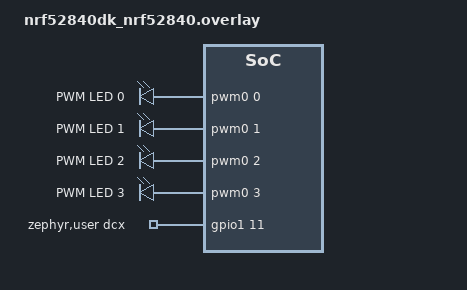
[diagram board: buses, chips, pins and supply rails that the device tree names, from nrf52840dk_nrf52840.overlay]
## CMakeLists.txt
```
zephyr_library()
zephyr_library_sources_ifdef(CONFIG_GPIO btn.c)
```

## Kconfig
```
# Copyright (c) 2021 Nordic Semiconductor ASA
# SPDX-License-Identifier: Apache-2.0
#
# This Kconfig file is picked by the Zephyr build system because it is defined
# as the module Kconfig entry point (see zephyr/module.yml). You can browse
# module options by going to Zephyr -> Modules in Kconfig.
```

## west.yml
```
# Copyright (c) 2021 Nordic Semiconductor ASA
# SPDX-License-Identifier: Apache-2.0

manifest:
  self:
    west-commands: scripts/west-commands.yml

  remotes:
    - name: zephyrproject-rtos
      url-base: https://github.com/zephyrproject-rtos

  projects:
    - name: zephyr
      remote: zephyrproject-rtos
      revision: v4.2.0
      import:
        # By using name-allowlist we can clone only the modules that are
        # strictly needed by the application.
        name-allowlist:
          - cmsis_6    # required by the ARM port for Cortex-M
          - hal_nordic # required by the nRF52840
          - lvgl    #add so west knows what to look for when running screen
```

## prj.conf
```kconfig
# Copyright (c) 2021 Nordic Semiconductor ASA
# SPDX-License-Identifier: Apache-2.0
#
# This file contains selected Kconfig options for the application.

CONFIG_GPIO=y
CONFIG_PWM=y
CONFIG_SMF=y
CONFIG_BOOT_BANNER=n

CONFIG_SPI=y

CONFIG_DISPLAY=y
CONFIG_LVGL=y

CONFIG_LV_Z_MEM_POOL_SIZE=16384
CONFIG_MAIN_STACK_SIZE=4096
```

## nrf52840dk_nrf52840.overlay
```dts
/ {
    pwmleds {
        compatible = "pwm-leds";
        pwm_led0: pwm_led_0 {
            pwms = <&pwm0 0 PWM_MSEC(20) PWM_POLARITY_NORMAL>;
            label = "PWM LED 0";
        };
        pwm_led1: pwm_led_1 {
            pwms = <&pwm0 1 PWM_MSEC(20) PWM_POLARITY_NORMAL>;
            label = "PWM LED 1";
        };
        pwm_led2: pwm_led_2 {
            pwms = <&pwm0 2 PWM_MSEC(20) PWM_POLARITY_NORMAL>;
            label = "PWM LED 2";
        };
        pwm_led3: pwm_led_3 {
            pwms = <&pwm0 3 PWM_MSEC(20) PWM_POLARITY_NORMAL>;
            label = "PWM LED 3";
        };
    };


    /*added for lesson_10 ...*/

    zephyr,user {
        dcx-gpios = <&gpio1 11 GPIO_ACTIVE_HIGH>;
    };

    arduino_spi {
        cs-gpios = <&gpio1 12 GPIO_ACTIVE_LOW>;
    };

    /*...*/

    aliases {
        pwm-led0 = &pwm_led0;
        pwm-led1 = &pwm_led1;
        pwm-led2 = &pwm_led2;
        pwm-led3 = &pwm_led3;
    };
};

&pinctrl { 
    pwm0_default: pwm0_default {
		group1 {
			psels = 
                <NRF_PSEL(PWM_OUT0, 0, 13)>, 
                <NRF_PSEL(PWM_OUT1, 0, 14)>, 
                <NRF_PSEL(PWM_OUT2, 0, 15)>, 
                <NRF_PSEL(PWM_OUT3, 0, 16)>;
			nordic,invert;
		};
	};

    pwm0_sleep: pwm0_sleep {
		group1 {
			psels = 
                <NRF_PSEL(PWM_OUT0, 0, 13)>, 
                <NRF_PSEL(PWM_OUT1, 0, 14)>, 
                <NRF_PSEL(PWM_OUT2, 0, 15)>, 
                <NRF_PSEL(PWM_OUT3, 0, 16)>;
			low-power-enable;
		};
	};
};
```

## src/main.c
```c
/**
 * @file main.c
 */


#include <inttypes.h>

#include <zephyr/kernel.h>
#include <zephyr/device.h>
#include <zephyr/drivers/spi.h>
#include <zephyr/drivers/gpio.h>
#include <zephyr/sys/printk.h>
#include <zephyr/drivers/display.h>

#include <lvgl.h>
#include "lcd_ui.h"

// command to build for screen:
//west build -b nrf52840dk/nrf52840 --shield=adafruit_2_8_tft_touch_v2 app

#include "BTN.h"
#include "LED.h"
#include "memory_game.h"

#define SLEEP_MS 1

// Set display device
static const struct device *display_dev =
    DEVICE_DT_GET(DT_CHOSEN(zephyr_display));


int main(void) {

  // Check proper initialization of BTN, LED, and display
  if (0 > BTN_init()) {
    return 0;
  }

  if (0 > LED_init()){
    return 0;
  }

  if (!device_is_ready(display_dev)) {
    return 0;
  }

  // Initialize LCD
  display_blanking_off(display_dev);
  lcd_ui_init();

  // Initialize Memory Game from .h file
  memory_game_init();
  printk("Memory Game Initialized\n");
 
  while(1){
    
    // Run Memory Game, which is in .c file
    int ret = memory_game_run();
    
    if(0 > ret){
      return 0;
    }

    // Allow LVGL to update screen and process input every loop
    lv_timer_handler();
    k_msleep(SLEEP_MS);

  }

  return 0;
}
```

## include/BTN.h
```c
/*
Header to define button interface
*/

#ifndef BTN_H
#define BTN_H

#include <stdbool.h>

/* ----------------------------------------------------------------------------
                                    TYPES
---------------------------------------------------------------------------- */
typedef enum btn_id_t {
  BTN0 = 0,
  BTN1,
  BTN2,
  BTN3,
  NUM_BTNS,
} btn_id;

/* ----------------------------------------------------------------------------
                              Public Functions
---------------------------------------------------------------------------- */
int BTN_init();

bool BTN_is_pressed(btn_id btn);

bool BTN_check_clear_pressed(btn_id btn);

bool BTN_check_pressed(btn_id btn);

void BTN_clear_pressed(btn_id btn);

#endif
```

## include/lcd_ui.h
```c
/** 
 * @file lcd_ui.h
 */

#ifndef LCD_UI_H
#define LCD_UI_H

#include <lvgl.h>
#include "LED.h"

enum led_colours {
    RED,
    GREEN,
    BLUE,
    ORANGE,
    GREY,
};

void lcd_ui_init(void);
void lcd_set_led(led_id led, int on, enum led_colours colour);
void lcd_set_status(const char *text);
void lcd_green_led();
void lv_button_callback(lv_event_t *event);

#endif
```

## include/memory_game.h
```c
/** 
 * @file memory_game.h
 */

#ifndef MEMORY_GAME_H
#define MEMORY_GAME_H

#include "LED.h"

void memory_game_init();
int memory_game_run();

void memory_game_set_lcd_button(led_id led);

#endif // MEMORY_GAME_H
```

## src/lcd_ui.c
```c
/** 
 * @file lcd_ui.c
 */

 // This file implements the LCD user interface for the Memory Game. 
 // It uses the LVGL library to create a simple UI with a status label and four LED regions that can be toggled on and off.
 // The UI also includes event handling for button presses on the LCD, which are integrated with the game logic in memory_game.c.

#include <lvgl.h>

#include "lv_data_obj.h"
#include "BTN.h"
#include "LED.h"

#include "memory_game.h"
#include "lcd_ui.h"

// Forward declarations for internal functions
static lv_obj_t *status_label;

static lv_obj_t *led_regions[NUM_LEDS];

static lv_obj_t *screen = NULL;



// Initialize the LCD UI, creating the status label and LED regions
void lcd_ui_init(void)
{
    screen = lv_screen_active();
    
    if (screen == NULL) {
        return;
    }

    status_label = lv_label_create(screen);

    

     for (uint8_t i = 0; i < NUM_LEDS; i++) {

        led_regions[i] = lv_obj_create(screen);

        lv_obj_set_size(led_regions[i], 120, 80);   // 220 150
 
        lv_obj_align(led_regions[i],
                     LV_ALIGN_CENTER,
                     120 * (i % 2 ? 1 : -1),
                     80 * (i < 2 ? -1 : 1));

        lv_obj_set_style_bg_color(led_regions[i],
                                  lv_color_hex(0x303030),
                                  0);
        
        led_id led = (led_id)i;                          
        lv_obj_t *data_obj = lv_data_obj_create_alloc_assign(led_regions[i], &led, sizeof(led_id));
        lv_obj_add_event_cb(led_regions[i], lv_button_callback, LV_EVENT_CLICKED, data_obj);
        
    }
}

// Callback function for an LCD touchscreen button press event
void lv_button_callback(lv_event_t *event)
{
    lv_obj_t *data_obj = (lv_obj_t *) lv_event_get_user_data(event);
    led_id led = *(led_id *)lv_data_obj_get_data_ptr(data_obj);

    memory_game_set_lcd_button(led);


    lv_label_set_text(status_label, "Memory Game");
    lv_obj_align(status_label, LV_ALIGN_CENTER, 0, 10);
    lv_obj_set_style_text_color(status_label, lv_color_hex(0x000000), 0);
    lv_obj_set_style_text_font(status_label, &lv_font_montserrat_14, 0);

    lv_obj_move_foreground(status_label);
}

// Function to set the state of an LED on the LCD
void lcd_set_led(led_id led, int on, enum led_colours colour)
{
    if (led >= NUM_LEDS) return;

    if (on) {
        if (colour == RED) {
            lv_obj_set_style_bg_color(
                led_regions[led],
                lv_color_hex(0xFF0000),
                0);
        }
        else if (colour == GREEN) {
            lv_obj_set_style_bg_color(
            led_regions[led],
            lv_color_hex(0x00FF00),
            0);
        }
        else if (colour == BLUE) {
            lv_obj_set_style_bg_color(
            led_regions[led],
            lv_color_hex(0x0000FF),
            0);
        }
        else { // ORANGE
            lv_obj_set_style_bg_color(
            led_regions[led],
            lv_color_hex(0xCC5500),
            0);
        }
    } else {
        lv_obj_set_style_bg_color(
            led_regions[led],
            lv_color_hex(0x303030),
            0);
    }
    lv_obj_move_foreground(status_label);
}

// Function for the winner state display for LCD
void lcd_green_led(){
        for(int i = 0; i < NUM_LEDS; i++){
            lv_obj_set_style_bg_color(
                led_regions[i],
                lv_color_hex(0x00FF00),
                0);
        }
        lv_obj_move_foreground(status_label);
}

// Function to set the text on the LCD, always bringing it to the foreground
void lcd_set_status(const char *text)
{
    if (!status_label) return;

    lv_label_set_text(status_label, text);

    lv_obj_align(status_label, LV_ALIGN_CENTER, 0, 0);
    
    lv_obj_move_foreground(status_label);
   

}
```

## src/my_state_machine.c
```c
/** 
 * @file my_state_machine.h
 */

#include <zephyr/smf.h>
#include <stdio.h>

#include "LED.h"
#include "my_state_machine.h"
#include "BTN.h"
#include "LED.h"


#define SLEEP_TIME_MS 1000


/*
Function Prototypes
*/

static void display_state(void* o);
static enum smf_state_result display_state_run(void* o);



static void enter_state(void*o);
static enum smf_state_result enter_state_run(void* o);

static void save_state(void*o);
static enum smf_state_result save_state_run(void* o);

static void standby_state(void* o);
static enum smf_state_result standby_state_run(void* o);

/*
Typedefs
*/
enum state_machine_states {
    DISPLAY_STATE,
    ENTER_STATE,
    SAVE_STATE,
    STANDBY_STATE,
};

typedef struct {
    // context variable used by Zephyr to track state machine state must be first
    struct smf_ctx ctx;
    enum state_machine_states current_state;
    uint16_t count;
    
    int led3_on;
    int64_t last_toggle_ms;

    int64_t button_time;

} state_object_t;


/*
Local Variables
*/
static const struct smf_state states[] = {
    [DISPLAY_STATE] = SMF_CREATE_STATE(display_state, display_state_run, NULL, NULL, NULL),
    [ENTER_STATE] = SMF_CREATE_STATE(enter_state, enter_state_run, NULL, NULL, NULL),
    [SAVE_STATE] = SMF_CREATE_STATE(save_state, save_state_run, NULL, NULL, NULL),
    [STANDBY_STATE] = SMF_CREATE_STATE(standby_state, standby_state_run, NULL, NULL, NULL),
};

static state_object_t state_object;

void state_machine_init() {
    state_object.count = 1;
    state_object.current_state = ENTER_STATE;
    smf_set_initial(SMF_CTX(&state_object), &states[ENTER_STATE]);  
    printk("initial state set\n");
 }

 int state_machine_run() {
   return smf_run_state(SMF_CTX(&state_object));
 }

int btn_presses[8] = {0,0,0,0,0,0,0,0};
int btn_total_presses = 0;
int saved_string[100] = {};
int saved_number = 0;
int *ptr_btn_presses = btn_presses;
int *ptr_saved_string = saved_string;
int brightness = 0;
int direction = 1;
int m;

struct led_state_object {
    int hold_counter;
}led_state_object;

 /*
 State Functions
 */


 static void display_state(void* o){
    state_object.count = 0;
    state_object.current_state = DISPLAY_STATE;

    state_object.led3_on = 0;
    state_object.last_toggle_ms = k_uptime_get();
    state_object.button_time = k_uptime_get();
 
 }
 static enum smf_state_result display_state_run(void* o){
    
    int64_t now = k_uptime_get();
    

    if ((now - state_object.last_toggle_ms) >= 32) {
        state_object.last_toggle_ms = now;
        state_object.led3_on =! state_object.led3_on;
    }
    int64_t now2 = k_uptime_get();
    
    if ((now2 - state_object.button_time) >= 500) {
        state_object.button_time = now2;
        LED_set(LED0, LED_OFF);
        LED_set(LED1, LED_OFF);
        LED_set(LED2, LED_OFF);
    }

    LED_set(LED3, state_object.led3_on ? LED_ON : LED_OFF);
    
     if (BTN_is_pressed(BTN0) && BTN_is_pressed(BTN1)) {
        led_state_object.hold_counter++;
        if (led_state_object.hold_counter >= 1000){
            led_state_object.hold_counter = 0;
            smf_set_state(SMF_CTX(&state_object), &states[STANDBY_STATE]);
            return SMF_EVENT_HANDLED;
        }
     }
    else
        led_state_object.hold_counter = 0;


    if (BTN_check_clear_pressed(BTN2)){
        for (int l = 0; l < 100; l++)
            saved_string[l] = 0;
        LED_set(LED2, LED_ON);
        printk("button 2 is pressed, reset all the bits, enter state\n");
        saved_number = 0;
        BTN_clear_pressed(BTN2);
        smf_set_state(SMF_CTX(&state_object), &states[ENTER_STATE]);
        return SMF_EVENT_HANDLED;
    }
    if (BTN_check_clear_pressed(BTN3)){
        printk("button 3 pressed, sending string to serial monitor\n");
        for (m = 0; m < saved_number*8; m++){
            printk("%d ", ptr_saved_string[m]);
            if (m%8) printk("-");
        }
        printk("\n");


        for (int i = 0; i < saved_number; i++) {
            uint8_t number = 0;
            for (int j = 0; j < 8; j++) {
                    number |= (ptr_saved_string[j + i*8] & 1) << (j); // MSB first
            }
        printk("%c", number);
    }
    printk("\n");
    }
    
    return SMF_EVENT_HANDLED;
 }

 static void enter_state(void* o){
    state_object.count = 1;
    state_object.current_state = ENTER_STATE;
    state_object.led3_on = 0;
    state_object.last_toggle_ms = k_uptime_get();
    state_object.button_time = k_uptime_get();
 }

 static enum smf_state_result enter_state_run(void* o) {
    
    int64_t now = k_uptime_get();

    if ((now - state_object.last_toggle_ms) >= 500) {
        state_object.last_toggle_ms = now;
        state_object.led3_on = !state_object.led3_on;
    }
    LED_set(LED3, state_object.led3_on ? LED_ON : LED_OFF);
    
    int64_t now2 = k_uptime_get();
    if ((now2 - state_object.button_time) >= 500) {
        state_object.button_time = now2;
        LED_set(LED0, LED_OFF);
        LED_set(LED1, LED_OFF);
        LED_set(LED2, LED_OFF);
    }
    

    

    if (BTN_is_pressed(BTN0) && BTN_is_pressed(BTN1)) {
        led_state_object.hold_counter++;
        if (led_state_object.hold_counter >= 3000){
            led_state_object.hold_counter = 0;
            smf_set_state(SMF_CTX(&state_object), &states[STANDBY_STATE]);
            return SMF_EVENT_HANDLED;
        }
    }
    else
        led_state_object.hold_counter = 0;

    
    if (btn_total_presses>7){
        printk("max string characters reached entering save state\n");
        smf_set_state(SMF_CTX(&state_object), &states[SAVE_STATE]);
        return SMF_EVENT_HANDLED;
    }

    if (BTN_check_clear_pressed(BTN0) ) {
        ptr_btn_presses[btn_total_presses] = 0;
        btn_total_presses++;
        printk("button 0 is pressed, set bit 0\n next: ");
        for (m = 0; m < 8; m++){
            if (m==btn_total_presses) printk("-");
            printk("%d", ptr_btn_presses[m]);
            if (m==btn_total_presses) printk("-");
        }
        printk("\n");
        LED_set(LED0, LED_ON);
        BTN_clear_pressed(BTN0);
        return SMF_EVENT_HANDLED;
        
    }
    if (BTN_check_clear_pressed(BTN1) ) {
        ptr_btn_presses[btn_total_presses] = 1;
        btn_total_presses++;
        LED_set(LED1, LED_ON);
        printk("button 1 is pressed, set bit 1\n next: ");
        for (m = 0; m < 8; m++){
            if (m==btn_total_presses) printk("-");
            printk("%d", ptr_btn_presses[m]);
            if (m==btn_total_presses) printk("-");
        }
        printk("\n");
        BTN_clear_pressed(BTN1);
        return SMF_EVENT_HANDLED;
       
    }
    if (BTN_check_clear_pressed(BTN2)){
        for (int l = 0; l < 8; l++)
            ptr_btn_presses[l] = 0;
        LED_set(LED2, LED_ON);
        printk("button 2 is pressed, reset the current bits\n");
        
        btn_total_presses = 0;
        BTN_clear_pressed(BTN2);
        smf_set_state(SMF_CTX(&state_object), &states[ENTER_STATE]);
        return SMF_EVENT_HANDLED;
    }
    if (BTN_check_clear_pressed(BTN3)){
        printk("button 3 is pressed, entering save state\n");
        smf_set_state(SMF_CTX(&state_object), &states[SAVE_STATE]);
        return SMF_EVENT_HANDLED;
    }
    

    
    return SMF_EVENT_HANDLED;
}

static void save_state(void* o){
    state_object.count = 2;
    state_object.current_state = SAVE_STATE;
    state_object.led3_on = 0;
    state_object.last_toggle_ms = k_uptime_get();
    state_object.button_time = k_uptime_get();

    for (int k = 0; k < 8; k++){
        ptr_saved_string[k+saved_number*8] = ptr_btn_presses[k] ? 1 : 0;
        ptr_btn_presses[k] = 0;
    }
    btn_total_presses = 0;
    saved_number++;
    

}
static enum smf_state_result save_state_run(void* o){
    
    int64_t now = k_uptime_get();

    if ((now - state_object.last_toggle_ms) >= 125) {
        state_object.last_toggle_ms = now;
        state_object.led3_on = !state_object.led3_on;
    }
    LED_set(LED3, state_object.led3_on ? LED_ON : LED_OFF);

    int64_t now2 = k_uptime_get();
    if ((now2 - state_object.button_time) >= 500) {
        state_object.button_time = now2;
        LED_set(LED0, LED_OFF);
        LED_set(LED1, LED_OFF);
        LED_set(LED2, LED_OFF);
    }

    if (BTN_is_pressed(BTN0) && BTN_is_pressed(BTN1)) {
        led_state_object.hold_counter++;
        if (led_state_object.hold_counter >= 3000){
            led_state_object.hold_counter = 0;
            smf_set_state(SMF_CTX(&state_object), &states[STANDBY_STATE]);
            return SMF_EVENT_HANDLED;
        }
    }
    else
        led_state_object.hold_counter = 0; 

    if ((BTN_check_clear_pressed(BTN0) || (BTN_check_clear_pressed(BTN1)))){
        printk("entering enter state, string saved\n");
        smf_set_state(SMF_CTX(&state_object), &states[ENTER_STATE]);
    }
    if (BTN_check_clear_pressed(BTN2)){
        printk("button 2 pressed, whole string deleted\n");
        for (int j = 0; j < saved_number; j++){
            for (int k = 0; k < 8; k++){
                    ptr_saved_string[k+j*8] += 0;
            }
        }
        saved_number = 0;
        smf_set_state(SMF_CTX(&state_object), &states[ENTER_STATE]);
        return SMF_EVENT_HANDLED;
    }
    if (BTN_check_clear_pressed(BTN3)){
        printk("saving entire string\n");
        smf_set_state(SMF_CTX(&state_object), &states[DISPLAY_STATE]);
        return SMF_EVENT_HANDLED;
    }
    return SMF_EVENT_HANDLED;  
}

static void standby_state(void* o){
    state_object.count = 3;
    brightness = 0;
    direction = 1;
    state_object.button_time = k_uptime_get();
    
}
static enum smf_state_result standby_state_run(void* o){
    int64_t now3 = k_uptime_get();

    if ((now3 - state_object.button_time) >= 125) {
        
        if (brightness >= 100){
            brightness = 100;
            direction = -1;
        }
        else if (brightness <=0){
            brightness = 0;
            direction = 1;
        }
        brightness += direction * 10;

        LED_pwm(LED0, brightness);
        LED_pwm(LED1, brightness);
        LED_pwm(LED2, brightness);
        LED_pwm(LED3, brightness);
        
        state_object.button_time = now3;
        }
        
    
    if (BTN_check_clear_pressed(BTN0)||BTN_check_clear_pressed(BTN1)||BTN_check_clear_pressed(BTN2)||BTN_check_clear_pressed(BTN3)){
            smf_set_state(SMF_CTX(&state_object), &states[state_object.current_state]);
            return SMF_EVENT_HANDLED;
    }
    return SMF_EVENT_HANDLED;
}



//  static void led_off_state_entry(void*o) {
//     LED_set(LED0, LED_OFF);
//  }

//  static enum smf_state_result led_off_state_run(void* o){
//     LED_set(LED2, LED_ON);
//     if (led_state_object.count > 500){
//         // led_state_object.count = 0;
//         smf_set_state(SMF_CTX(&led_state_object), &led_states[LED_ON_STATE]);
    
//     } else {
//         led_state_object.count++;
//         printk("LED OFF State Count: %d\n", led_state_object.count);
//     }
//     return SMF_EVENT_HANDLED;
//  }

// static void led_exit_off_state_entry(void* o) {
//     led_state_object.count = 0;
  
//  }
// static void led_exit_on_state_entry(void* o) {
//     led_state_object.count = 0;
   
//  }
```

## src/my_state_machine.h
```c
/** 
 * @file my_state_machine.h
 */

#ifndef MY_STATE_MACHINE_H
#define MY_STATE_MACHINE_H

void state_machine_init();
int state_machine_run();

#endif // MY_STATE_MACHINE_H
```
